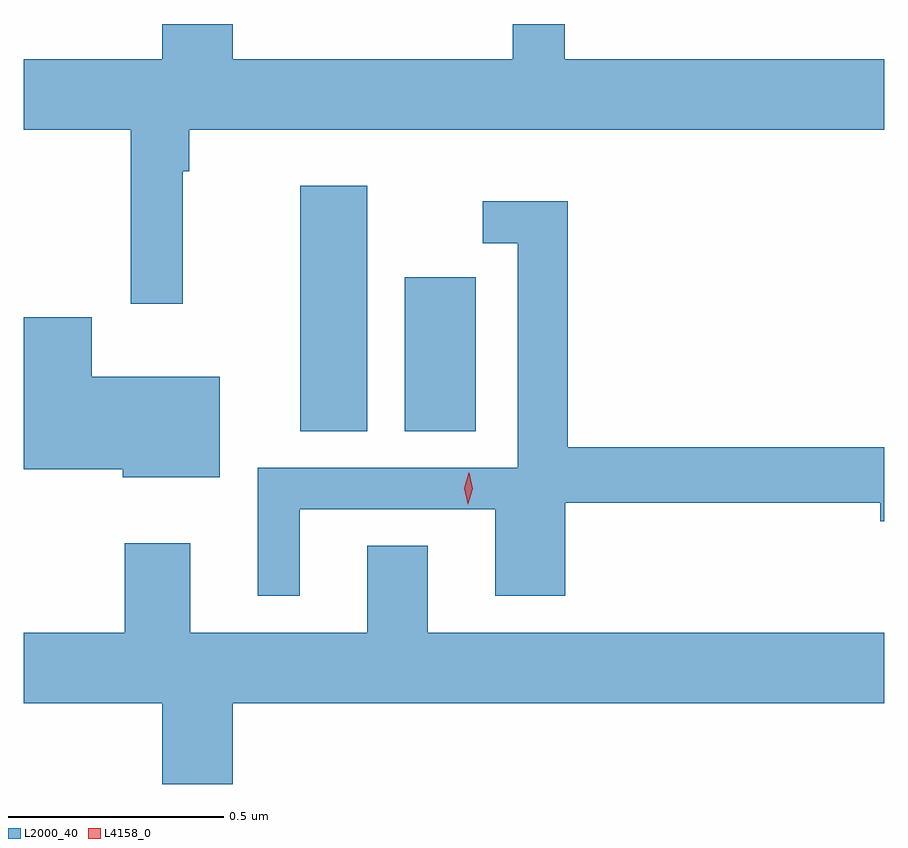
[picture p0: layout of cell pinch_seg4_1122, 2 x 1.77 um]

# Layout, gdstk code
import gdstk
lib = gdstk.Library(unit=1e-6, precision=1e-09)
def R(c, l, rs):  # rectangles x0, y0, x1, y1
    for r in rs: c.add(gdstk.rectangle(r[:2], r[2:], *l))
def P(c, l, *ps):  # polygons
    for p in ps: c.add(gdstk.Polygon(p, *l))
L2000_40 = (2000, 40)
L4158_0 = (4158, 0)

pinch_seg4_1122 = lib.new_cell('pinch_seg4_1122')
R(pinch_seg4_1122, L2000_40, [(429.065,817.432,429.22,818.002), (429.308,817.432,429.472,817.789)])
P(pinch_seg4_1122, L2000_40, [(428.792,818.036),(428.807,818.036),(428.807,818.132),(430.422,818.132),(430.422,818.296),(429.679,818.296),(429.679,818.378),(429.558,818.378),(429.558,818.296),(428.908,818.296),(428.908,818.378),(428.744,818.378),(428.744,818.296),(428.422,818.296),(428.422,818.132),(428.671,818.132),(428.671,817.728),(428.792,817.728)],
  [(429.064,817.251),(429.518,817.251),(429.518,817.05),(429.68,817.05),(429.68,817.266),(430.412,817.266),(430.412,817.223),(430.422,817.223),(430.422,817.394),(429.686,817.394),(429.686,817.966),(429.489,817.966),(429.489,817.869),(429.57,817.869),(429.57,817.347),(428.966,817.347),(428.966,817.05),(429.064,817.05)],
  [(428.878,817.558),(428.58,817.558),(428.58,817.696),(428.422,817.696),(428.422,817.343),(428.652,817.343),(428.652,817.325),(428.878,817.325)],
  [(428.908,816.8),(430.422,816.8),(430.422,816.964),(429.361,816.964),(429.361,817.166),(429.221,817.166),(429.221,816.964),(428.809,816.964),(428.809,817.171),(428.657,817.171),(428.657,816.964),(428.422,816.964),(428.422,816.8),(428.744,816.8),(428.744,816.612),(428.908,816.612)])
P(pinch_seg4_1122, L4158_0, [(429.454,817.262),(429.454,817.263),(429.446,817.299),(429.456,817.335),(429.456,817.335),(429.457,817.335),(429.465,817.298),(429.455,817.263)])

lib.write_gds('pinch_seg4_1122.gds')
